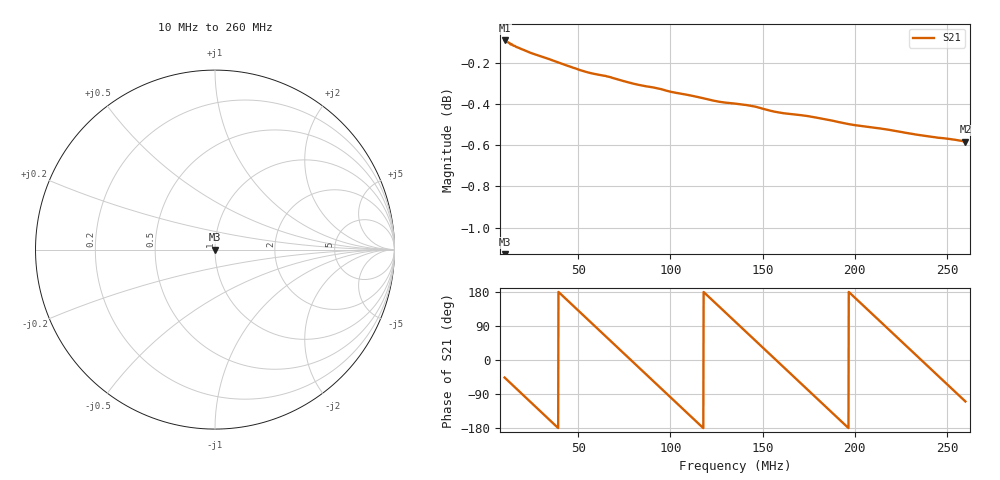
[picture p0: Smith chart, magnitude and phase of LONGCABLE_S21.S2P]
!Agilent Technologies,E5071C,MY46214392,A.11.36
!Date: Thu Jun 18 15:58:01 2026
!Data & Calibration Information:
!Freq	S11:SOLT1(OFF)	S21:NONE(--)	S12:NONE(--)	S22:NONE(--)
!PortZ  Port1:50+j0  Port2:50+j0
!Above PortZ is port z conversion or system Z0 setting when saving the data.
!When reading, reference impedance value at option line is always used.
# Hz S dB R 50
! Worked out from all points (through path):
!   1601 points, 10 MHz to 260 MHz, reference 50 ohm
!   highest |S21| = -0.09 dB at 10 MHz (marker M1); lowest = -0.6 dB at 260 MHz (marker M2)
!   group delay of S21, straight-line fit = 12.7 ns
!   lowest |S11| = - dB at 10 MHz (marker M3), VSWR 1.00, Z = 50 + j0 ohm
!   |S11| at or under -10 dB: start of sweep to end of sweep
!   S12 and S22 are empty: the file has one direction only
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1e7  -200.00 0.0  -0.09 -46.3  -200.00 0.0  -200.00 0.0
2.1875e7  -200.00 0.0  -0.14 -100.8  -200.00 0.0  -200.00 0.0
3.4375e7  -200.00 0.0  -0.18 -158.1  -200.00 0.0  -200.00 0.0
5.171875e7  -200.00 0.0  -0.24 122.5  -200.00 0.0  -200.00 0.0
6.265625e7  -200.00 0.0  -0.26 72.4  -200.00 0.0  -200.00 0.0
7.5e7  -200.00 0.0  -0.29 15.9  -200.00 0.0  -200.00 0.0
8.375e7  -200.00 0.0  -0.31 -24.1  -200.00 0.0  -200.00 0.0
9.34375e7  -200.00 0.0  -0.32 -68.4  -200.00 0.0  -200.00 0.0
1.035938e8  -200.00 0.0  -0.35 -114.8  -200.00 0.0  -200.00 0.0
1.15625e8  -200.00 0.0  -0.37 -169.8  -200.00 0.0  -200.00 0.0
1.245312e8  -200.00 0.0  -0.39 149.5  -200.00 0.0  -200.00 0.0
1.35e8  -200.00 0.0  -0.40 101.7  -200.00 0.0  -200.00 0.0
1.445312e8  -200.00 0.0  -0.41 58.1  -200.00 0.0  -200.00 0.0
1.564062e8  -200.00 0.0  -0.44 3.8  -200.00 0.0  -200.00 0.0
1.653125e8  -200.00 0.0  -0.45 -36.9  -200.00 0.0  -200.00 0.0
1.767188e8  -200.00 0.0  -0.46 -89.0  -200.00 0.0  -200.00 0.0
1.971875e8  -200.00 0.0  -0.50 177.5  -200.00 0.0  -200.00 0.0
2.089062e8  -200.00 0.0  -0.51 124.0  -200.00 0.0  -200.00 0.0
2.184375e8  -200.00 0.0  -0.52 80.4  -200.00 0.0  -200.00 0.0
2.378125e8  -200.00 0.0  -0.55 -8.1  -200.00 0.0  -200.00 0.0
2.496875e8  -200.00 0.0  -0.57 -62.3  -200.00 0.0  -200.00 0.0
2.6e8  -200.00 0.0  -0.58 -109.4  -200.00 0.0  -200.00 0.0
